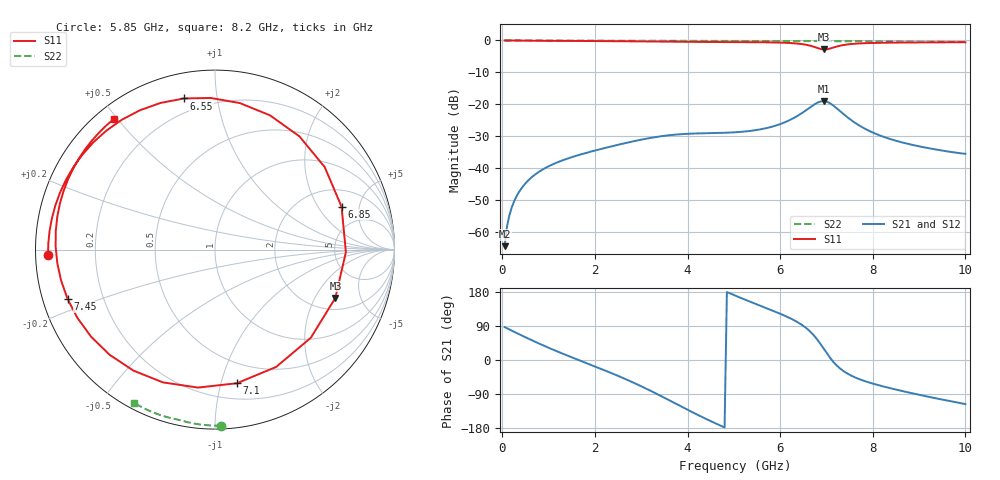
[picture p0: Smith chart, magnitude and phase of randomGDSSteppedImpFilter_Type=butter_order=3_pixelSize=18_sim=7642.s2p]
! freq	dB(S11)	phase(S11)	dB(S12)	phase(S12)
!  dB(S21)	phase(S21)	dB(S22)	phase(S22)
!S-par simulation data
#  GHz  S  DB  R 50
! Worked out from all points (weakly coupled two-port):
!   200 points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, 50 MHz to 10 GHz, reference 50 ohm
!   highest |S21| = -19.03 dB at 6.95 GHz (marker M1); lowest = -64.4 dB at 50 MHz (marker M2)
!   lowest |S11| = -2.8 dB at 6.95 GHz (marker M3), VSWR 6.21, Z = 132 - j149 ohm
!   |S11| at or under -10 dB: nowhere
!   |S22| runs from -0.5 to 0.0 dB; largest |S21 - S12| = 0
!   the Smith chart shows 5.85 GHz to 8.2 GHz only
!   S11 on the Smith chart (normalised r, x): 5.85 GHz: 0.04, -0.02; 6.55 GHz: 0.13, +0.81; 6.85 GHz: 3.09, +3.32; 7.1 GHz: 0.32, -1.12; 7.45 GHz: 0.07, -0.16; 8.2 GHz: 0.05, +0.49
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0.05  -0.00 -5.3  -64.44 86.8  -64.44 86.8  -0.00 -0.8
0.3  -0.04 -31.4  -49.03 71.7  -49.03 71.7  -0.01 -4.9
0.85  -0.11 -85.6  -40.61 40.3  -40.61 40.3  -0.02 -13.7
1.75  -0.17 -163.8  -35.47 -5.0  -35.47 -5.0  -0.04 -28.0
2.25  -0.21 154.3  -33.56 -29.3  -33.56 -29.3  -0.05 -35.8
2.75  -0.27 109.5  -31.84 -55.2  -31.84 -55.2  -0.06 -43.5
3.4  -0.37 43.7  -30.06 -93.4  -30.06 -93.4  -0.08 -53.3
4  -0.44 -20.1  -29.24 -131.2  -29.24 -131.2  -0.09 -62.1
4.5  -0.47 -69.0  -29.03 -161.3  -29.03 -161.3  -0.11 -69.3
5.05  -0.50 -115.7  -28.74 168.9  -28.74 168.9  -0.13 -77.0
5.85  -0.62 -178.1  -26.91 129.7  -26.91 129.7  -0.16 -87.9
6.25  -0.83 144.3  -24.63 108.2  -24.63 108.2  -0.19 -93.3
6.55  -1.31 101.5  -21.95 85.5  -21.95 85.5  -0.21 -97.2
6.7  -1.85 67.7  -20.41 68.6  -20.41 68.6  -0.24 -99.2
6.85  -2.56 18.7  -19.22 45.9  -19.22 45.9  -0.26 -101.0
6.95  -2.82 -21.9  -19.03 28.1  -19.03 28.1  -0.27 -102.2
7.1  -2.45 -80.7  -19.89 2.3  -19.89 2.3  -0.26 -104.0
7.45  -1.25 -161.4  -24.03 -35.6  -24.03 -35.6  -0.26 -108.4
8.2  -0.72 127.9  -30.02 -69.0  -30.02 -69.0  -0.30 -117.9
8.35  -0.69 118.0  -30.76 -73.6  -30.76 -73.6  -0.31 -119.8
9.1  -0.61 75.2  -33.45 -94.4  -33.45 -94.4  -0.38 -129.0
10  -0.57 31.1  -35.50 -116.5  -35.50 -116.5  -0.48 -140.0
